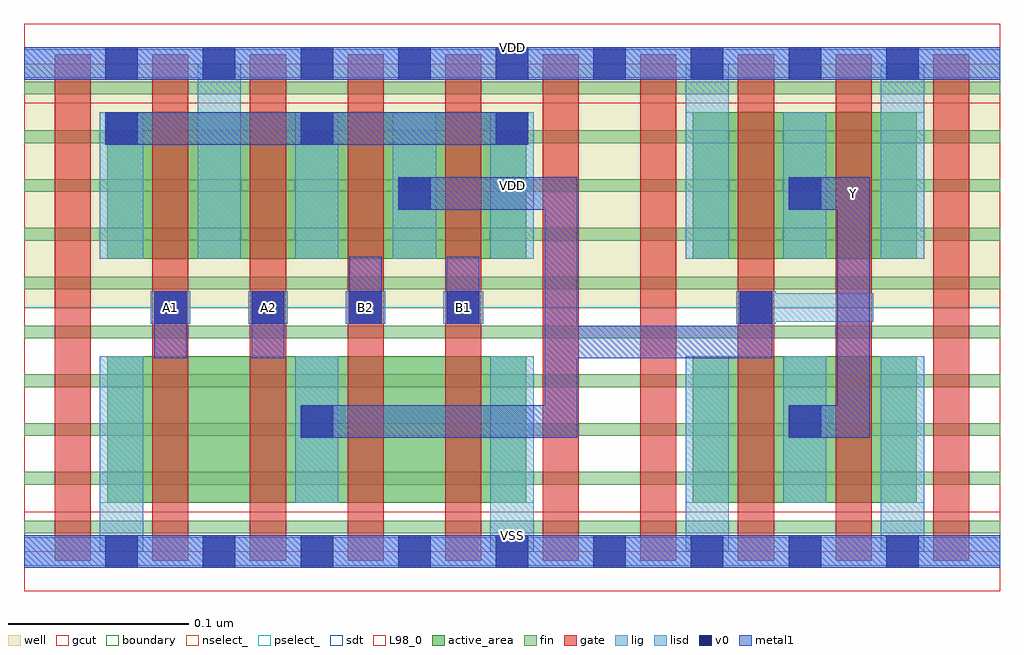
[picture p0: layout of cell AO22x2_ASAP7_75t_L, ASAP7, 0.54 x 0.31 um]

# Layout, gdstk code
import gdstk
lib = gdstk.Library(unit=1e-6, precision=2.5e-10)
def R(c, l, rs):  # rectangles x0, y0, x1, y1
    for r in rs: c.add(gdstk.rectangle(r[:2], r[2:], *l))
def A(c, l, x, y, w, h, nx, ny, dx, dy):  # array of equal rectangles
    R(c, l, [(x+i*dx, y+j*dy, x+i*dx+w, y+j*dy+h) for i in range(nx) for j in range(ny)])
def P(c, l, *ps):  # polygons
    for p in ps: c.add(gdstk.Polygon(p, *l))
well = (1, 0)
fin = (2, 0)
gate = (7, 0)
gcut = (10, 0)
active_area = (11, 0)
nselect_ = (12, 0)
pselect_ = (13, 0)
lig = (16, 0)
lisd = (17, 0)
v0 = (18, 0)
metal1 = (19, 0)
sdt = (88, 0)
L98_0 = (98, 0)
boundary = (100, 0)

ao22x2_asap7_75t_l = lib.new_cell('AO22x2_ASAP7_75t_L')
R(ao22x2_asap7_75t_l, well, [(0,0.135,0.54,0.27)])
A(ao22x2_asap7_75t_l, fin, 0, 0.01, 0.54, 0.007, 1, 10, 0, 0.027)
A(ao22x2_asap7_75t_l, gate, 0.017, -0.005, 0.02, 0.28, 10, 1, 0.054, 0)
R(ao22x2_asap7_75t_l, gcut, [(0,-0.022,0.54,0.022), (0,0.248,0.54,0.292)])
R(ao22x2_asap7_75t_l, active_area, [(0.046,0.027,0.278,0.108), (0.37,0.027,0.494,0.108), (0.046,0.162,0.278,0.243), (0.37,0.162,0.494,0.243)])
R(ao22x2_asap7_75t_l, nselect_, [(0,0,0.54,0.135)])
R(ao22x2_asap7_75t_l, pselect_, [(0,0.135,0.54,0.27)])
A(ao22x2_asap7_75t_l, lig, 0.07, 0.126, 0.022, 0.018, 4, 1, 0.054, 0)
R(ao22x2_asap7_75t_l, lig, [(0,-0.008,0.54,0.008), (0.394,0.126,0.416,0.144), (0.394,0.127,0.47,0.143), (0,0.262,0.54,0.278)])
A(ao22x2_asap7_75t_l, lisd, 0.15, 0.162, 0.024, 0.081, 3, 1, 0.054, 0)
R(ao22x2_asap7_75t_l, lisd, [(0.042,0,0.066,0.108), (0.042,0,0.066,0.108), (0.258,0,0.282,0.108), (0.258,0,0.282,0.108), (0.366,0,0.39,0.108), (0.366,0,0.39,0.108), (0.474,0,0.498,0.108), (0.474,0,0.498,0.108), (0.15,0.027,0.174,0.108), (0.42,0.027,0.444,0.108), (0.042,0.162,0.066,0.243), (0.096,0.162,0.12,0.27), (0.096,0.162,0.12,0.27), (0.366,0.162,0.39,0.27), (0.366,0.162,0.39,0.27), (0.42,0.162,0.444,0.243), (0.474,0.162,0.498,0.27), (0.474,0.162,0.498,0.27)])
A(ao22x2_asap7_75t_l, v0, 0.045, -0.009, 0.018, 0.018, 9, 2, 0.054, 0.27)
A(ao22x2_asap7_75t_l, v0, 0.072, 0.126, 0.018, 0.018, 4, 1, 0.054, 0)
A(ao22x2_asap7_75t_l, v0, 0.045, 0.225, 0.018, 0.018, 3, 1, 0.108, 0)
R(ao22x2_asap7_75t_l, v0, [(0.153,0.063,0.171,0.081), (0.423,0.063,0.441,0.081), (0.396,0.126,0.414,0.144), (0.207,0.189,0.225,0.207), (0.423,0.189,0.441,0.207)])
A(ao22x2_asap7_75t_l, metal1, 0.072, 0.126, 0.018, 0.018, 4, 1, 0.054, 0)
A(ao22x2_asap7_75t_l, metal1, 0.045, 0.225, 0.018, 0.018, 3, 1, 0.108, 0)
R(ao22x2_asap7_75t_l, metal1, [(0,-0.009,0.54,0.009), (0.153,0.063,0.171,0.081), (0.423,0.063,0.441,0.081), (0.072,0.107,0.09,0.144), (0.126,0.107,0.144,0.144), (0.18,0.126,0.198,0.163), (0.234,0.126,0.252,0.163), (0.396,0.126,0.414,0.144), (0.207,0.189,0.225,0.207), (0.423,0.189,0.441,0.207), (0.045,0.225,0.279,0.243), (0,0.261,0.54,0.279)])
P(ao22x2_asap7_75t_l, metal1, [(0.414,0.144),(0.396,0.144),(0.396,0.125),(0.306,0.125),(0.306,0.207),(0.207,0.207),(0.207,0.189),(0.288,0.189),(0.288,0.081),(0.153,0.081),(0.153,0.063),(0.306,0.063),(0.306,0.107),(0.414,0.107)],
  [(0.423,0.207),(0.423,0.189),(0.45,0.189),(0.45,0.081),(0.423,0.081),(0.423,0.063),(0.468,0.063),(0.468,0.207)])
A(ao22x2_asap7_75t_l, sdt, 0.042, 0.027, 0.024, 0.081, 3, 1, 0.108, 0)
A(ao22x2_asap7_75t_l, sdt, 0.366, 0.027, 0.024, 0.081, 3, 2, 0.054, 0.135)
A(ao22x2_asap7_75t_l, sdt, 0.096, 0.162, 0.024, 0.081, 4, 1, 0.054, 0)
R(ao22x2_asap7_75t_l, sdt, [(0.042,0.027,0.066,0.108), (0.258,0.027,0.282,0.108), (0.366,0.027,0.39,0.108), (0.474,0.027,0.498,0.108), (0.042,0.162,0.066,0.243), (0.096,0.162,0.12,0.243), (0.366,0.162,0.39,0.243), (0.474,0.162,0.498,0.243)])
R(ao22x2_asap7_75t_l, L98_0, [(0,0,0.54,0.27)])
R(ao22x2_asap7_75t_l, boundary, [(0,0,0.54,0.27)])
ao22x2_asap7_75t_l.add(gdstk.Label('VDD', (0.27,0.2025), layer=1, texttype=251))
ao22x2_asap7_75t_l.add(gdstk.Label('VSS', (0.27,-0.0675), layer=3, texttype=251))
ao22x2_asap7_75t_l.add(gdstk.Label('VSS', (0.27,0.009), layer=19, texttype=251))
ao22x2_asap7_75t_l.add(gdstk.Label('VDD', (0.27,0.279), layer=19, texttype=251))
ao22x2_asap7_75t_l.add(gdstk.Label('A1', (0.081,0.135), layer=19, texttype=251))
ao22x2_asap7_75t_l.add(gdstk.Label('A2', (0.135,0.135), layer=19, texttype=251))
ao22x2_asap7_75t_l.add(gdstk.Label('B2', (0.189,0.135), layer=19, texttype=251))
ao22x2_asap7_75t_l.add(gdstk.Label('B1', (0.243,0.135), layer=19, texttype=251))
ao22x2_asap7_75t_l.add(gdstk.Label('Y', (0.459,0.198), layer=19, texttype=251))

lib.write_gds('AO22x2_ASAP7_75t_L.gds')
